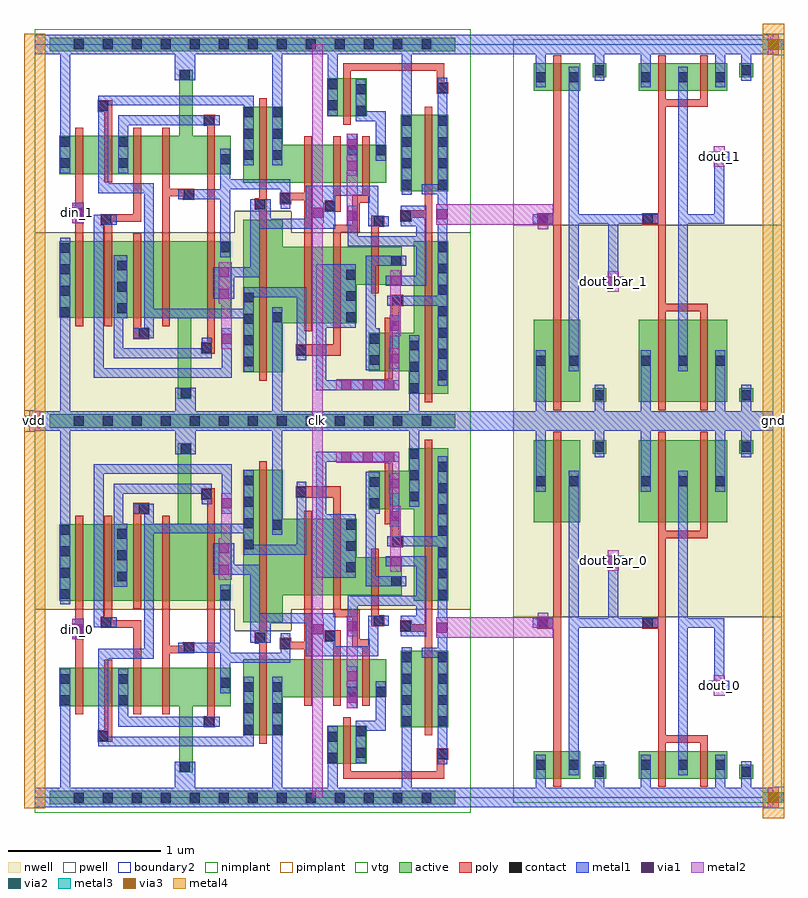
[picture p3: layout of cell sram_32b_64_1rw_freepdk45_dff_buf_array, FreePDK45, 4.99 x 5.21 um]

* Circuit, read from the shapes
.subckt sram_32b_64_1rw_freepdk45_dff_buf_array clk din_0 din_1 dout_0 dout_1 dout_bar_0 dout_bar_1 gnd vdd
M1 n1 din_0 gnd gnd nfet w=0.25u l=0.05u
M2 n2 din_1 gnd gnd nfet w=0.25u l=0.05u
M3 n3 n4 n1 gnd nfet w=0.25u l=0.05u
M4 n5 n6 n2 gnd nfet w=0.25u l=0.05u
M5 n7 clk n3 gnd nfet w=0.25u l=0.05u
M6 n8 clk n5 gnd nfet w=0.25u l=0.05u
M7 gnd n9 n7 gnd nfet w=0.25u l=0.05u
M8 gnd n10 n8 gnd nfet w=0.25u l=0.05u
M9 n9 n3 gnd gnd nfet w=0.25u l=0.05u
M10 n10 n5 gnd gnd nfet w=0.25u l=0.05u
M11 gnd clk n4 gnd nfet w=0.5u l=0.05u
M12 gnd clk n6 gnd nfet w=0.5u l=0.05u
M13 n11 n9 gnd gnd nfet w=0.25u l=0.05u
M14 n12 n10 gnd gnd nfet w=0.25u l=0.05u
M15 n13 clk n11 gnd nfet w=0.25u l=0.05u
M16 n14 clk n12 gnd nfet w=0.25u l=0.05u
M17 n15 sram_32b_64_1rw_freepdk45_dff_buf_0_0/sram_32b_64_1rw_freepdk45_pinv_2_1/A gnd gnd nfet w=0.25u l=0.05u
M18 n16 sram_32b_64_1rw_freepdk45_dff_buf_0_1/sram_32b_64_1rw_freepdk45_pinv_2_1/A gnd gnd nfet w=0.25u l=0.05u
M19 n15 n4 n13 gnd nfet w=0.25u l=0.05u
M20 n16 n6 n14 gnd nfet w=0.25u l=0.05u
M21 sram_32b_64_1rw_freepdk45_dff_buf_0_0/sram_32b_64_1rw_freepdk45_pinv_2_1/A n13 gnd gnd nfet w=0.5u l=0.05u
M22 sram_32b_64_1rw_freepdk45_dff_buf_0_1/sram_32b_64_1rw_freepdk45_pinv_2_1/A n14 gnd gnd nfet w=0.5u l=0.05u
M23 dout_bar_0 sram_32b_64_1rw_freepdk45_dff_buf_0_0/sram_32b_64_1rw_freepdk45_pinv_2_1/A gnd gnd nfet w=0.18u l=0.05u
M24 dout_bar_1 sram_32b_64_1rw_freepdk45_dff_buf_0_1/sram_32b_64_1rw_freepdk45_pinv_2_1/A gnd gnd nfet w=0.18u l=0.05u
M25 dout_0 dout_bar_0 gnd gnd nfet w=0.18u l=0.05u m=2
M26 dout_1 dout_bar_1 gnd gnd nfet w=0.18u l=0.05u m=2
M27 n17 din_0 vdd vdd pfet w=0.5u l=0.05u
M28 n18 din_1 vdd vdd pfet w=0.5u l=0.05u
M29 n3 clk n17 vdd pfet w=0.5u l=0.05u
M30 n5 clk n18 vdd pfet w=0.5u l=0.05u
M31 n19 n4 n3 vdd pfet w=0.5u l=0.05u
M32 n20 n6 n5 vdd pfet w=0.5u l=0.05u
M33 vdd n9 n19 vdd pfet w=0.5u l=0.05u
M34 vdd n10 n20 vdd pfet w=0.5u l=0.05u
M35 n9 n3 vdd vdd pfet w=0.5u l=0.05u
M36 n10 n5 vdd vdd pfet w=0.5u l=0.05u
M37 vdd clk n4 vdd pfet w=1u l=0.05u
M38 vdd clk n6 vdd pfet w=1u l=0.05u
M39 n21 n9 vdd vdd pfet w=0.5u l=0.05u
M40 n22 n10 vdd vdd pfet w=0.5u l=0.05u
M41 n13 n4 n21 vdd pfet w=0.5u l=0.05u
M42 n14 n6 n22 vdd pfet w=0.5u l=0.05u
M43 n23 clk n13 vdd pfet w=0.25u l=0.05u
M44 n24 clk n14 vdd pfet w=0.25u l=0.05u
M45 vdd sram_32b_64_1rw_freepdk45_dff_buf_0_0/sram_32b_64_1rw_freepdk45_pinv_2_1/A n23 vdd pfet w=0.25u l=0.05u
M46 vdd sram_32b_64_1rw_freepdk45_dff_buf_0_1/sram_32b_64_1rw_freepdk45_pinv_2_1/A n24 vdd pfet w=0.25u l=0.05u
M47 sram_32b_64_1rw_freepdk45_dff_buf_0_0/sram_32b_64_1rw_freepdk45_pinv_2_1/A n13 vdd vdd pfet w=1u l=0.05u
M48 sram_32b_64_1rw_freepdk45_dff_buf_0_1/sram_32b_64_1rw_freepdk45_pinv_2_1/A n14 vdd vdd pfet w=1u l=0.05u
M49 dout_bar_0 sram_32b_64_1rw_freepdk45_dff_buf_0_0/sram_32b_64_1rw_freepdk45_pinv_2_1/A vdd vdd pfet w=0.54u l=0.05u
M50 dout_bar_1 sram_32b_64_1rw_freepdk45_dff_buf_0_1/sram_32b_64_1rw_freepdk45_pinv_2_1/A vdd vdd pfet w=0.54u l=0.05u
M51 dout_0 dout_bar_0 vdd vdd pfet w=0.54u l=0.05u m=2
M52 dout_1 dout_bar_1 vdd vdd pfet w=0.54u l=0.05u m=2
.ends

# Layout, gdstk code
import gdstk
lib = gdstk.Library(unit=1e-6, precision=5e-10)
def R(c, l, rs):  # rectangles x0, y0, x1, y1
    for r in rs: c.add(gdstk.rectangle(r[:2], r[2:], *l))
def A(c, l, x, y, w, h, nx, ny, dx, dy):  # array of equal rectangles
    R(c, l, [(x+i*dx, y+j*dy, x+i*dx+w, y+j*dy+h) for i in range(nx) for j in range(ny)])
def P(c, l, *ps):  # polygons
    for p in ps: c.add(gdstk.Polygon(p, *l))
active = (1, 0)
pwell = (2, 0)
nwell = (3, 0)
nimplant = (4, 0)
pimplant = (5, 0)
vtg = (6, 0)
poly = (9, 0)
contact = (10, 0)
metal1 = (11, 0)
via1 = (12, 0)
metal2 = (13, 0)
via2 = (14, 0)
metal3 = (15, 0)
via3 = (16, 0)
metal4 = (17, 0)
boundary2 = (239, 0)

dff = lib.new_cell('dff')
A(dff, active, 0.2675, 0.6, 0.05, 0.25, 4, 1, 0.19, 0)
A(dff, active, 0.3175, 0.6, 0.14, 0.25, 3, 1, 0.19, 0)
A(dff, active, 1.7675, 0.6575, 0.05, 0.25, 3, 1, 0.19, 0)
A(dff, active, 0.2675, 1.2925, 0.05, 0.5, 4, 1, 0.19, 0)
A(dff, active, 0.3175, 1.2925, 0.14, 0.5, 3, 1, 0.19, 0)
R(dff, active, [(0.1,-0.045,2.76,0.045), (1.9175,0.2225,2.0225,0.4725), (2.0225,0.2225,2.0725,0.4725), (2.0725,0.2225,2.1775,0.4725), (1.3675,0.4075,1.4725,0.9075), (1.4725,0.4075,1.5225,0.9075), (2.4025,0.4625,2.5575,0.9625), (2.5575,0.4625,2.6075,0.9625), (2.6075,0.4625,2.7125,0.9625), (0.1625,0.6,0.2675,0.85), (1.1325,0.6,1.1825,0.85), (1.1825,0.6,1.2875,0.85), (1.8175,0.6575,1.9575,0.9075), (2.0075,0.6575,2.1475,0.9075), (2.1975,0.6575,2.3075,0.9075), (1.3675,1.15,1.4725,2.15), (1.4725,1.15,1.5225,2.15), (0.1625,1.2925,0.2675,1.7925), (1.1325,1.2925,1.1825,1.7925), (1.1825,1.2925,1.2875,1.7925), (2.5575,1.2925,2.6075,2.2925), (2.6075,1.2925,2.7125,2.2925), (1.7675,1.3275,1.8175,1.8275), (1.8175,1.3275,1.9575,1.8275), (1.9575,1.3275,2.0075,1.8275), (2.2075,1.3275,2.2575,1.5775), (2.2575,1.3275,2.4075,1.5775), (2.1925,1.8925,2.2975,2.1425), (2.2975,1.8925,2.3475,2.1425), (0.1,2.425,2.76,2.515)])
P(dff, active, [(0.8875,1.2925),(0.8875,1.7925),(0.9375,1.7925),(0.9375,2.3225),(1.0275,2.3225),(1.0275,1.7925),(1.1325,1.7925),(1.1325,1.2925)],
  [(1.5225,1.15),(1.5225,2.15),(1.6275,2.15),(1.6275,1.8275),(1.7675,1.8275),(1.7675,1.3275),(1.6275,1.3275),(1.6275,1.15)],
  [(2.0075,1.3275),(2.0075,1.8275),(2.1125,1.8275),(2.1125,1.5775),(2.2075,1.5775),(2.2075,1.3275)],
  [(2.4875,1.2925),(2.4875,1.8925),(2.3475,1.8925),(2.3475,2.1425),(2.4525,2.1425),(2.4525,2.2925),(2.5575,2.2925),(2.5575,1.2925)],
  [(0.9475,0.165),(0.9475,0.6),(0.8875,0.6),(0.8875,0.85),(1.1325,0.85),(1.1325,0.6),(1.0375,0.6),(1.0375,0.165)],
  [(1.5225,0.4075),(1.5225,0.9075),(1.7675,0.9075),(1.7675,0.6575),(1.6275,0.6575),(1.6275,0.4075)])
P(dff, pwell, [(0,-0.1),(0,1.235),(1.3125,1.235),(1.3125,1.095),(1.6825,1.095),(1.6825,1.235),(2.86,1.235),(2.86,-0.1)])
P(dff, nwell, [(1.3125,1.095),(1.3125,1.235),(0,1.235),(0,2.57),(2.86,2.57),(2.86,1.235),(1.6825,1.235),(1.6825,1.095)])
A(dff, nimplant, 0.2675, 0.6, 0.05, 0.25, 4, 1, 0.19, 0)
A(dff, nimplant, 0.3175, 0.6, 0.14, 0.25, 3, 1, 0.19, 0)
A(dff, nimplant, 1.7675, 0.6575, 0.05, 0.25, 3, 1, 0.19, 0)
R(dff, nimplant, [(1.9175,0.2225,2.0225,0.4725), (2.0225,0.2225,2.0725,0.4725), (2.0725,0.2225,2.1775,0.4725), (1.3675,0.4075,1.4725,0.9075), (1.4725,0.4075,1.5225,0.9075), (2.4025,0.4625,2.5575,0.9625), (2.5575,0.4625,2.6075,0.9625), (2.6075,0.4625,2.7125,0.9625), (0.1625,0.6,0.2675,0.85), (1.1325,0.6,1.1825,0.85), (1.1825,0.6,1.2875,0.85), (1.8175,0.6575,1.9575,0.9075), (2.0075,0.6575,2.1475,0.9075), (2.1975,0.6575,2.3075,0.9075), (0.1,2.425,2.76,2.515)])
P(dff, nimplant, [(0.9475,0.165),(0.9475,0.6),(0.8875,0.6),(0.8875,0.85),(1.1325,0.85),(1.1325,0.6),(1.0375,0.6),(1.0375,0.165)],
  [(1.5225,0.4075),(1.5225,0.9075),(1.7675,0.9075),(1.7675,0.6575),(1.6275,0.6575),(1.6275,0.4075)])
A(dff, pimplant, 0.2675, 1.2925, 0.05, 0.5, 4, 1, 0.19, 0)
A(dff, pimplant, 0.3175, 1.2925, 0.14, 0.5, 3, 1, 0.19, 0)
R(dff, pimplant, [(0.1,-0.045,2.76,0.045), (1.3675,1.15,1.4725,2.15), (1.4725,1.15,1.5225,2.15), (0.1625,1.2925,0.2675,1.7925), (1.1325,1.2925,1.1825,1.7925), (1.1825,1.2925,1.2875,1.7925), (2.5575,1.2925,2.6075,2.2925), (2.6075,1.2925,2.7125,2.2925), (1.7675,1.3275,1.8175,1.8275), (1.8175,1.3275,1.9575,1.8275), (1.9575,1.3275,2.0075,1.8275), (2.2075,1.3275,2.2575,1.5775), (2.2575,1.3275,2.4075,1.5775), (2.1925,1.8925,2.2975,2.1425), (2.2975,1.8925,2.3475,2.1425)])
P(dff, pimplant, [(0.8875,1.2925),(0.8875,1.7925),(0.9375,1.7925),(0.9375,2.3225),(1.0275,2.3225),(1.0275,1.7925),(1.1325,1.7925),(1.1325,1.2925)],
  [(1.5225,1.15),(1.5225,2.15),(1.6275,2.15),(1.6275,1.8275),(1.7675,1.8275),(1.7675,1.3275),(1.6275,1.3275),(1.6275,1.15)],
  [(2.0075,1.3275),(2.0075,1.8275),(2.1125,1.8275),(2.1125,1.5775),(2.2075,1.5775),(2.2075,1.3275)],
  [(2.4875,1.2925),(2.4875,1.8925),(2.3475,1.8925),(2.3475,2.1425),(2.4525,2.1425),(2.4525,2.2925),(2.5575,2.2925),(2.5575,1.2925)])
R(dff, vtg, [(0,-0.1,2.86,2.57)])
A(dff, poly, 0.2675, 0.6, 0.05, 0.25, 4, 1, 0.19, 0)
A(dff, poly, 1.7675, 0.6025, 0.05, 0.055, 3, 1, 0.19, 0)
A(dff, poly, 1.7675, 0.6575, 0.05, 0.25, 3, 1, 0.19, 0)
A(dff, poly, 0.2675, 1.2925, 0.05, 0.5, 4, 1, 0.19, 0)
R(dff, poly, [(2.0225,0.2225,2.0725,0.4725), (1.4725,0.3525,1.5225,0.4075), (1.4725,0.4075,1.5225,0.9075), (2.5575,0.4075,2.6075,0.4625), (2.5575,0.4625,2.6075,0.9625), (2.0225,0.4725,2.0725,0.5275), (0.2675,0.545,0.3175,0.6), (0.6475,0.545,0.6975,0.6), (0.8375,0.545,0.8875,0.6), (1.1325,0.6,1.1825,0.85), (0.4575,0.85,0.5075,0.905), (1.1325,0.85,1.1825,1.2925), (1.4725,1.15,1.5225,2.15), (0.6475,1.2375,0.6975,1.2925), (1.1325,1.2925,1.1825,1.7925), (2.5575,1.2925,2.6075,2.2925), (1.7675,1.3275,1.8175,1.8275), (1.9575,1.3275,2.0075,1.8275), (2.2075,1.3275,2.2575,1.5775), (2.2075,1.5775,2.2575,1.6325), (0.2675,1.7925,0.3175,1.8475), (0.4575,1.7925,0.5075,1.8475), (0.8375,1.7925,0.8875,1.8475), (1.7675,1.8275,1.8175,1.8825), (2.2975,1.8925,2.3475,2.1425), (2.2975,2.1425,2.3475,2.1975), (1.4725,2.15,1.5225,2.205), (2.5575,2.2925,2.6075,2.3475)])
P(dff, poly, [(0.2675,0.85),(0.2675,1.0675),(0.2425,1.0675),(0.2425,1.1425),(0.2675,1.1425),(0.2675,1.2925),(0.3175,1.2925),(0.3175,0.85)],
  [(0.4125,0.365),(0.4125,0.44),(0.4575,0.44),(0.4575,0.6),(0.5075,0.6),(0.5075,0.365)],
  [(0.6475,1.7925),(0.6475,1.9325),(0.7525,1.9325),(0.7525,1.8575),(0.6975,1.8575),(0.6975,1.7925)],
  [(0.6475,0.85),(0.6475,1.1125),(0.4325,1.1125),(0.4325,1.1875),(0.4575,1.1875),(0.4575,1.2925),(0.5075,1.2925),(0.5075,1.1625),(0.6975,1.1625),(0.6975,0.85)],
  [(0.8375,0.85),(0.8375,1.2925),(0.8875,1.2925),(0.8875,0.995),(0.9725,0.995),(0.9725,1.02),(1.0475,1.02),(1.0475,0.945),(0.8875,0.945),(0.8875,0.85)],
  [(1.1325,1.7925),(1.1325,1.9525),(1.0925,1.9525),(1.0925,2.0275),(1.1825,2.0275),(1.1825,1.7925)],
  [(1.1075,0.46),(1.1075,0.535),(1.1325,0.535),(1.1325,0.6),(1.1825,0.6),(1.1825,0.46)],
  [(1.4725,0.9075),(1.4725,1.01),(1.4425,1.01),(1.4425,1.085),(1.4725,1.085),(1.4725,1.15),(1.5225,1.15),(1.5225,0.9075)],
  [(1.7675,0.9075),(1.7675,0.9725),(1.6075,0.9725),(1.6075,1.0475),(1.6825,1.0475),(1.6825,1.0225),(1.7675,1.0225),(1.7675,1.3275),(1.8175,1.3275),(1.8175,0.9075)],
  [(1.9575,1.8275),(1.9575,1.9675),(1.7125,1.9675),(1.7125,2.0425),(2.0075,2.0425),(2.0075,1.8275)],
  [(1.9575,0.9075),(1.9575,1.0225),(1.9025,1.0225),(1.9025,1.0975),(2.0075,1.0975),(2.0075,0.9075)],
  [(2.3425,1.6425),(2.3425,1.7925),(2.2975,1.7925),(2.2975,1.8925),(2.3475,1.8925),(2.3475,1.8425),(2.3925,1.8425),(2.3925,1.7175),(2.4175,1.7175),(2.4175,1.6425)],
  [(2.2075,1.1225),(2.2075,1.3275),(2.2575,1.3275),(2.2575,1.1975),(2.2925,1.1975),(2.2925,1.1225)],
  [(2.0225,0.1225),(2.0225,0.2225),(2.0725,0.2225),(2.0725,0.1725),(2.6375,0.1725),(2.6375,0.3225),(2.7125,0.3225),(2.7125,0.2475),(2.6875,0.2475),(2.6875,0.1225)],
  [(2.1475,0.9075),(2.1475,0.9875),(2.0825,0.9875),(2.0825,1.1825),(1.9575,1.1825),(1.9575,1.3275),(2.0075,1.3275),(2.0075,1.2325),(2.1325,1.2325),(2.1325,1.0375),(2.1975,1.0375),(2.1975,0.9075)],
  [(2.5575,0.9625),(2.5575,1.0875),(2.3975,1.0875),(2.3975,1.1625),(2.4725,1.1625),(2.4725,1.1375),(2.5575,1.1375),(2.5575,1.2925),(2.6075,1.2925),(2.6075,0.9625)])
A(dff, contact, 0.2575, -0.0325, 0.065, 0.065, 13, 2, 0.19, 2.47)
A(dff, contact, 1.3725, 0.4125, 0.065, 0.065, 1, 3, 0, 0.14)
A(dff, contact, 1.5575, 0.4125, 0.065, 0.065, 1, 3, 0, 0.14)
A(dff, contact, 2.4075, 0.4675, 0.065, 0.065, 1, 4, 0, 0.14)
A(dff, contact, 2.6425, 0.4675, 0.065, 0.065, 1, 4, 0, 0.14)
A(dff, contact, 2.6425, 1.2975, 0.065, 0.065, 1, 7, 0, 0.14)
A(dff, contact, 0.1675, 1.3025, 0.065, 0.065, 1, 4, 0, 0.14)
A(dff, contact, 0.5425, 1.4175, 0.065, 0.065, 1, 3, 0, 0.14)
A(dff, contact, 2.0425, 1.4775, 0.065, 0.065, 1, 3, 0, 0.14)
A(dff, contact, 1.3725, 1.6275, 0.065, 0.065, 1, 4, 0, 0.14)
A(dff, contact, 2.4575, 1.9425, 0.065, 0.065, 1, 3, 0, 0.14)
R(dff, contact, [(0.9525,0.17,1.0175,0.235), (1.9225,0.2275,1.9875,0.2925), (2.6425,0.2525,2.7075,0.3175), (2.1075,0.2625,2.1725,0.3275), (1.9225,0.3675,1.9875,0.4325), (0.4175,0.37,0.4825,0.435), (2.1075,0.4025,2.1725,0.4675), (1.1125,0.465,1.1775,0.53), (0.1675,0.605,0.2325,0.67), (0.5475,0.605,0.6125,0.67), (2.0475,0.6625,2.1125,0.7275), (2.2375,0.6625,2.3025,0.7275), (1.2175,0.72,1.2825,0.785), (0.1675,0.745,0.2325,0.81), (0.5475,0.745,0.6125,0.81), (0.9775,0.95,1.0425,1.015), (1.6125,0.9775,1.6775,1.0425), (1.4475,1.015,1.5125,1.08), (1.9075,1.0275,1.9725,1.0925), (0.2475,1.0725,0.3125,1.1375), (2.4025,1.0925,2.4675,1.1575), (0.4375,1.1175,0.5025,1.1825), (2.2225,1.1275,2.2875,1.1925), (1.2175,1.2975,1.2825,1.3625), (2.3375,1.3875,2.4025,1.4525), (2.3475,1.6475,2.4125,1.7125), (1.5575,1.7575,1.6225,1.8225), (0.6825,1.8625,0.7475,1.9275), (2.1975,1.8975,2.2625,1.9625), (1.0975,1.9575,1.1625,2.0225), (1.7175,1.9725,1.7825,2.0375), (2.1975,2.0375,2.2625,2.1025), (0.9575,2.2525,1.0225,2.3175)])
R(dff, metal1, [(0,-0.065,2.86,0.065), (0,-0.065,2.86,0.065), (2.0475,0.5875,2.1125,0.8625), (2.6425,0.915,2.7075,1.1275), (1.7775,0.9275,1.9725,1.2075), (0.245,1.0375,0.3225,1.1725), (2.6325,1.0475,2.71,1.1825), (2.3275,1.7775,2.3925,2.1275), (0,2.405,2.76,2.535), (0,2.405,2.76,2.535)])
P(dff, metal1, [(0.1675,1.2675),(0.1675,2.405),(0.1,2.405),(0.1,2.535),(2.86,2.535),(2.86,2.405),(2.5225,2.405),(2.5225,1.9075),(2.4575,1.9075),(2.4575,2.405),(1.6225,2.405),(1.6225,1.7225),(1.5575,1.7225),(1.5575,2.405),(1.0575,2.405),(1.0575,2.2525),(0.9225,2.2525),(0.9225,2.405),(0.2325,2.405),(0.2325,1.2675)],
  [(0.1,-0.065),(0.1,0.065),(0.1675,0.065),(0.1675,0.845),(0.2325,0.845),(0.2325,0.065),(0.9175,0.065),(0.9175,0.235),(1.0525,0.235),(1.0525,0.065),(1.5575,0.065),(1.5575,0.7925),(1.6225,0.7925),(1.6225,0.065),(1.9225,0.065),(1.9225,0.4675),(1.9875,0.4675),(1.9875,0.065),(2.4075,0.065),(2.4075,0.9875),(2.4725,0.9875),(2.4725,0.065),(2.76,0.065),(2.76,-0.065)],
  [(0.4175,0.335),(0.4175,0.975),(0.7175,0.975),(0.7175,1.8625),(0.6475,1.8625),(0.6475,1.9275),(0.7825,1.9275),(0.7825,1.7975),(1.3725,1.7975),(1.3725,2.1475),(1.4375,2.1475),(1.4375,1.6575),(1.7175,1.6575),(1.7175,2.0725),(1.7825,2.0725),(1.7825,1.5925),(1.3725,1.5925),(1.3725,1.7325),(0.7825,1.7325),(0.7825,0.91),(0.4825,0.91),(0.4825,0.4),(1.3725,0.4),(1.3725,0.7925),(1.4375,0.7925),(1.4375,0.335)],
  [(1.7775,0.9275),(1.7775,1.1425),(1.5475,1.1425),(1.5475,1.015),(1.4125,1.015),(1.4125,1.4625),(1.1725,1.4625),(1.1725,1.6675),(1.3075,1.6675),(1.3075,1.5275),(1.4775,1.5275),(1.4775,1.2075),(1.9725,1.2075),(1.9725,0.9925),(2.1875,0.9925),(2.1875,1.1925),(2.3225,1.1925),(2.3225,1.1275),(2.2525,1.1275),(2.2525,0.9275)],
  [(0.3875,1.1175),(0.3875,2.1875),(1.2925,2.1875),(1.2925,1.8625),(1.2275,1.8625),(1.2275,2.1225),(0.4525,2.1225),(0.4525,1.1825),(0.5375,1.1825),(0.5375,1.1175)],
  [(0.5175,1.3825),(0.5175,2.0575),(1.1625,2.0575),(1.1625,1.9225),(1.0975,1.9225),(1.0975,1.9925),(0.5825,1.9925),(0.5825,1.7975),(0.6075,1.7975),(0.6075,1.3825)],
  [(0.5475,0.465),(0.5475,0.845),(0.6125,0.845),(0.6125,0.53),(1.2125,0.53),(1.2125,0.465)],
  [(1.2175,0.685),(1.2175,0.95),(0.9425,0.95),(0.9425,1.015),(1.2175,1.015),(1.2175,1.3975),(1.2825,1.3975),(1.2825,0.95),(1.6125,0.95),(1.6125,1.0775),(1.6775,1.0775),(1.6775,0.885),(1.2825,0.885),(1.2825,0.685)],
  [(1.8475,1.4425),(1.8475,2.2675),(2.3925,2.2675),(2.3925,2.2025),(1.9125,2.2025),(1.9125,1.8575),(2.1075,1.8575),(2.1075,1.4425)],
  [(2.0525,1.0575),(2.0525,1.3225),(2.5025,1.3225),(2.5025,1.5175),(2.3025,1.5175),(2.3025,1.5825),(2.5675,1.5825),(2.5675,1.0575),(2.4025,1.0575),(2.4025,1.1925),(2.5025,1.1925),(2.5025,1.2575),(2.1175,1.2575),(2.1175,1.0575)],
  [(2.1725,1.3875),(2.1725,2.1375),(2.2625,2.1375),(2.2625,1.8625),(2.2375,1.8625),(2.2375,1.4525),(2.4375,1.4525),(2.4375,1.3875)],
  [(2.6425,0.2175),(2.6425,0.9175),(2.5375,0.9175),(2.5375,0.9825),(2.6425,0.9825),(2.6425,1.6475),(2.3125,1.6475),(2.3125,1.7125),(2.6425,1.7125),(2.6425,2.2375),(2.7075,2.2375),(2.7075,0.2175)],
  [(2.1075,0.2275),(2.1075,0.5025),(2.2375,0.5025),(2.2375,0.7625),(2.3025,0.7625),(2.3025,0.4375),(2.1725,0.4375),(2.1725,0.2275)])
A(dff, via1, 2.0125, 2.2025, 0.065, 0.065, 3, 1, 0.14, 0)
R(dff, via1, [(2.0475,0.6225,2.1125,0.6875), (2.0475,0.7625,2.1125,0.8275), (0.2475,1.0725,0.3125,1.1375), (1.825,1.0725,1.89,1.1375), (2.64,1.0825,2.705,1.1475), (2.0525,1.0925,2.1175,1.1575), (1.2075,1.4625,1.2725,1.5275), (2.3375,1.5175,2.4025,1.5825), (1.2075,1.6025,1.2725,1.6675), (2.3275,1.8125,2.3925,1.8775), (1.2275,1.8975,1.2925,1.9625), (2.3275,2.0275,2.3925,2.0925)])
R(dff, metal2, [(2.0475,0.5875,2.1175,1.1925), (0.245,1.0375,0.3225,1.1725), (0.245,1.0375,0.3225,1.1725), (1.82,1.0375,1.8975,1.1725), (1.82,1.0375,1.8975,1.1725), (2.6325,1.0475,2.71,1.1825), (2.6325,1.0475,2.71,1.1825)])
P(dff, metal2, [(1.2075,1.4275),(1.2075,1.7025),(1.2225,1.7025),(1.2225,1.9975),(1.2925,1.9975),(1.2925,1.4275)],
  [(2.3225,1.9925),(2.3225,2.1975),(1.9775,2.1975),(1.9775,2.2675),(2.3925,2.2675),(2.3925,1.9925)],
  [(2.3325,1.4825),(2.3325,1.7775),(2.3275,1.7775),(2.3275,1.9125),(2.4025,1.9125),(2.4025,1.4825)])
R(dff, boundary2, [(0,0,2.86,2.47)])
dff.add(gdstk.Label('clk', (1.865,1.15), layer=13, texttype=0))
dff.add(gdstk.Label('D', (0.295,1.15), layer=13, texttype=0))
dff.add(gdstk.Label('Q', (2.685,1.1), layer=13, texttype=0))
dff.add(gdstk.Label('gnd', (1.645,0.0425), layer=11, texttype=0))
dff.add(gdstk.Label('vdd', (2.035,2.5325), layer=11, texttype=0))
dff.add(gdstk.Label('D', (0.284,1.105), layer=13, texttype=0))
dff.add(gdstk.Label('Q', (2.671,1.115), layer=13, texttype=0))
dff.add(gdstk.Label('clk', (1.859,1.105), layer=13, texttype=0))
dff.add(gdstk.Label('vdd', (1.38,2.47), layer=11, texttype=0))
dff.add(gdstk.Label('gnd', (1.43,0), layer=11, texttype=0))

sram_32b_64_1rw_freepdk4 = lib.new_cell('sram_32b_64_1rw_freepdk45_contact_11')
R(sram_32b_64_1rw_freepdk4, active, [(0,0.0225,0.09,0.1125)])
R(sram_32b_64_1rw_freepdk4, nwell, [(-0.055,-0.0325,0.145,0.1675)])
R(sram_32b_64_1rw_freepdk4, pimplant, [(0,0.0225,0.09,0.1125)])
R(sram_32b_64_1rw_freepdk4, contact, [(0.0125,0.035,0.0775,0.1)])
R(sram_32b_64_1rw_freepdk4, metal1, [(0.0125,0,0.0775,0.135)])
R(sram_32b_64_1rw_freepdk4, boundary2, [(-0.055,-0.0325,0.145,0.1675)])

c_sram_32b_64_1rw_freepdk4 = lib.new_cell('sram_32b_64_1rw_freepdk45_pmos_m1_w0_540_sm1_dm1_da_p')
R(c_sram_32b_64_1rw_freepdk4, active, [(0,0,0.305,0.54)])
R(c_sram_32b_64_1rw_freepdk4, nwell, [(-0.08,-0.08,0.385,0.62)])
R(c_sram_32b_64_1rw_freepdk4, pimplant, [(0,0,0.305,0.54)])
R(c_sram_32b_64_1rw_freepdk4, vtg, [(-0.08,-0.08,0.385,0.62)])
R(c_sram_32b_64_1rw_freepdk4, poly, [(0.1275,-0.055,0.1775,0.595), (0.1275,-0.055,0.1775,0.595)])
R(c_sram_32b_64_1rw_freepdk4, metal1, [(0.0125,0.2025,0.0775,0.3375), (0.2275,0.2025,0.2925,0.3375)])
R(c_sram_32b_64_1rw_freepdk4, boundary2, [(-0.08,-0.08,0.385,0.62)])
c_sram_32b_64_1rw_freepdk4.add(gdstk.Reference(sram_32b_64_1rw_freepdk4, (0,0.2025)))
c_sram_32b_64_1rw_freepdk4.add(gdstk.Reference(sram_32b_64_1rw_freepdk4, (0.215,0.2025)))
c_sram_32b_64_1rw_freepdk4.add(gdstk.Label('G', (0.1525,0.27), layer=9, texttype=0))
c_sram_32b_64_1rw_freepdk4.add(gdstk.Label('S', (0.045,0.27), layer=11, texttype=0))
c_sram_32b_64_1rw_freepdk4.add(gdstk.Label('D', (0.26,0.27), layer=11, texttype=0))

c_sram_32b_64_1rw_freepdk4_ = lib.new_cell('sram_32b_64_1rw_freepdk45_contact_10')
R(c_sram_32b_64_1rw_freepdk4_, active, [(0,0.0225,0.09,0.1125)])
R(c_sram_32b_64_1rw_freepdk4_, pwell, [(-0.055,-0.0325,0.145,0.1675)])
R(c_sram_32b_64_1rw_freepdk4_, nimplant, [(0,0.0225,0.09,0.1125)])
R(c_sram_32b_64_1rw_freepdk4_, contact, [(0.0125,0.035,0.0775,0.1)])
R(c_sram_32b_64_1rw_freepdk4_, metal1, [(0.0125,0,0.0775,0.135)])
R(c_sram_32b_64_1rw_freepdk4_, boundary2, [(-0.055,-0.0325,0.145,0.1675)])

c_sram_32b_64_1rw_freepdk4__ = lib.new_cell('sram_32b_64_1rw_freepdk45_nmos_m1_w0_180_sm1_dm1_da_p')
R(c_sram_32b_64_1rw_freepdk4__, active, [(0,0,0.305,0.18)])
R(c_sram_32b_64_1rw_freepdk4__, pwell, [(-0.08,-0.08,0.385,0.26)])
R(c_sram_32b_64_1rw_freepdk4__, nimplant, [(0,0,0.305,0.18)])
R(c_sram_32b_64_1rw_freepdk4__, vtg, [(-0.08,-0.08,0.385,0.26)])
R(c_sram_32b_64_1rw_freepdk4__, poly, [(0.1275,-0.055,0.1775,0.235), (0.1275,-0.055,0.1775,0.235)])
R(c_sram_32b_64_1rw_freepdk4__, metal1, [(0.0125,0.0225,0.0775,0.1575), (0.2275,0.0225,0.2925,0.1575)])
R(c_sram_32b_64_1rw_freepdk4__, boundary2, [(-0.08,-0.08,0.385,0.26)])
c_sram_32b_64_1rw_freepdk4__.add(gdstk.Reference(c_sram_32b_64_1rw_freepdk4_, (0,0.0225)))
c_sram_32b_64_1rw_freepdk4__.add(gdstk.Reference(c_sram_32b_64_1rw_freepdk4_, (0.215,0.0225)))
c_sram_32b_64_1rw_freepdk4__.add(gdstk.Label('G', (0.1525,0.09), layer=9, texttype=0))
c_sram_32b_64_1rw_freepdk4__.add(gdstk.Label('S', (0.045,0.09), layer=11, texttype=0))
c_sram_32b_64_1rw_freepdk4__.add(gdstk.Label('D', (0.26,0.09), layer=11, texttype=0))

c_sram_32b_64_1rw_freepdk4___ = lib.new_cell('sram_32b_64_1rw_freepdk45_contact_12')
R(c_sram_32b_64_1rw_freepdk4___, active, [(0,0.0225,0.09,0.1125)])
R(c_sram_32b_64_1rw_freepdk4___, nwell, [(-0.055,-0.0325,0.145,0.1675)])
R(c_sram_32b_64_1rw_freepdk4___, nimplant, [(0,0.0225,0.09,0.1125)])
R(c_sram_32b_64_1rw_freepdk4___, contact, [(0.0125,0.035,0.0775,0.1)])
R(c_sram_32b_64_1rw_freepdk4___, metal1, [(0.0125,0,0.0775,0.135)])
R(c_sram_32b_64_1rw_freepdk4___, boundary2, [(-0.055,-0.0325,0.145,0.1675)])

c_sram_32b_64_1rw_freepdk4____ = lib.new_cell('sram_32b_64_1rw_freepdk45_contact_13')
R(c_sram_32b_64_1rw_freepdk4____, active, [(0,0.0225,0.09,0.1125)])
R(c_sram_32b_64_1rw_freepdk4____, pwell, [(-0.055,-0.0325,0.145,0.1675)])
R(c_sram_32b_64_1rw_freepdk4____, pimplant, [(0,0.0225,0.09,0.1125)])
R(c_sram_32b_64_1rw_freepdk4____, contact, [(0.0125,0.035,0.0775,0.1)])
R(c_sram_32b_64_1rw_freepdk4____, metal1, [(0.0125,0,0.0775,0.135)])
R(c_sram_32b_64_1rw_freepdk4____, boundary2, [(-0.055,-0.0325,0.145,0.1675)])

c_sram_32b_64_1rw_freepdk4_____ = lib.new_cell('sram_32b_64_1rw_freepdk45_contact_14')
R(c_sram_32b_64_1rw_freepdk4_____, poly, [(0.03,0,0.105,0.075)])
R(c_sram_32b_64_1rw_freepdk4_____, contact, [(0.035,0.005,0.1,0.07)])
R(c_sram_32b_64_1rw_freepdk4_____, metal1, [(0,0.005,0.135,0.07)])
R(c_sram_32b_64_1rw_freepdk4_____, boundary2, [(0,0,0.135,0.075)])

c_sram_32b_64_1rw_freepdk4______ = lib.new_cell('sram_32b_64_1rw_freepdk45_pinv_2')
R(c_sram_32b_64_1rw_freepdk4______, pwell, [(-0.055,-0.0325,0.7425,1.185)])
R(c_sram_32b_64_1rw_freepdk4______, nwell, [(-0.055,1.185,0.7425,2.505)])
R(c_sram_32b_64_1rw_freepdk4______, vtg, [(-0.055,-0.0325,0.7425,1.185), (-0.055,1.185,0.7425,2.505)])
R(c_sram_32b_64_1rw_freepdk4______, poly, [(0.2075,0.36,0.2575,1.75), (0.14,1.1075,0.2075,1.1825)])
R(c_sram_32b_64_1rw_freepdk4______, metal1, [(0,-0.0325,0.6875,0.0325), (0.0925,-0.0325,0.1575,0.1475), (0.4775,0,0.5425,0.17), (0.3075,0.1475,0.3725,2.1425), (0.0725,1.1125,0.2075,1.1775), (0.34,1.1125,0.405,1.1775), (0.0925,2.0075,0.1575,2.5025), (0.4775,2.3,0.5425,2.47), (0,2.4375,0.6875,2.5025)])
R(c_sram_32b_64_1rw_freepdk4______, boundary2, [(0,0,0.6875,2.47), (0,0,0.6875,2.47)])
c_sram_32b_64_1rw_freepdk4______.add(gdstk.Reference(c_sram_32b_64_1rw_freepdk4, (0.08,1.805)))
c_sram_32b_64_1rw_freepdk4______.add(gdstk.Reference(c_sram_32b_64_1rw_freepdk4__, (0.08,0.125)))
c_sram_32b_64_1rw_freepdk4______.add(gdstk.Reference(c_sram_32b_64_1rw_freepdk4___, (0.465,2.2325)))
c_sram_32b_64_1rw_freepdk4______.add(gdstk.Reference(c_sram_32b_64_1rw_freepdk4____, (0.465,0.1025)))
c_sram_32b_64_1rw_freepdk4______.add(gdstk.Reference(c_sram_32b_64_1rw_freepdk4_____, (0.0725,1.1075)))
c_sram_32b_64_1rw_freepdk4______.add(gdstk.Label('A', (0.14,1.145), layer=11, texttype=0))
c_sram_32b_64_1rw_freepdk4______.add(gdstk.Label('Z', (0.3725,1.145), layer=11, texttype=0))
c_sram_32b_64_1rw_freepdk4______.add(gdstk.Label('gnd', (0.344,0), layer=11, texttype=0))
c_sram_32b_64_1rw_freepdk4______.add(gdstk.Label('vdd', (0.344,2.47), layer=11, texttype=0))

c_sram_32b_64_1rw_freepdk4_______ = lib.new_cell('sram_32b_64_1rw_freepdk45_pmos_m2_w0_540_sm1_dm1_da_p')
R(c_sram_32b_64_1rw_freepdk4_______, active, [(0,0,0.58,0.54)])
R(c_sram_32b_64_1rw_freepdk4_______, nwell, [(-0.08,-0.08,0.66,0.62)])
R(c_sram_32b_64_1rw_freepdk4_______, pimplant, [(0,0,0.58,0.54)])
R(c_sram_32b_64_1rw_freepdk4_______, vtg, [(-0.08,-0.08,0.66,0.62)])
R(c_sram_32b_64_1rw_freepdk4_______, poly, [(0.1275,-0.105,0.4525,-0.055), (0.1275,-0.055,0.1775,0.595), (0.4025,-0.055,0.4525,0.595)])
A(c_sram_32b_64_1rw_freepdk4_______, metal1, 0.0125, 0.2025, 0.065, 0.135, 3, 1, 0.245, 0)
R(c_sram_32b_64_1rw_freepdk4_______, boundary2, [(-0.08,-0.105,0.66,0.62)])
c_sram_32b_64_1rw_freepdk4_______.add(gdstk.Reference(sram_32b_64_1rw_freepdk4, (0,0.2025)))
c_sram_32b_64_1rw_freepdk4_______.add(gdstk.Reference(sram_32b_64_1rw_freepdk4, (0.245,0.2025)))
c_sram_32b_64_1rw_freepdk4_______.add(gdstk.Reference(sram_32b_64_1rw_freepdk4, (0.49,0.2025)))
c_sram_32b_64_1rw_freepdk4_______.add(gdstk.Label('G', (0.29,-0.08), layer=9, texttype=0))
c_sram_32b_64_1rw_freepdk4_______.add(gdstk.Label('S', (0.045,0.27), layer=11, texttype=0))
c_sram_32b_64_1rw_freepdk4_______.add(gdstk.Label('S', (0.535,0.27), layer=11, texttype=0))
c_sram_32b_64_1rw_freepdk4_______.add(gdstk.Label('D', (0.29,0.27), layer=11, texttype=0))

c_sram_32b_64_1rw_freepdk4________ = lib.new_cell('sram_32b_64_1rw_freepdk45_nmos_m2_w0_180_sm1_dm1_da_p')
R(c_sram_32b_64_1rw_freepdk4________, active, [(0,0,0.58,0.18)])
R(c_sram_32b_64_1rw_freepdk4________, pwell, [(-0.08,-0.08,0.66,0.26)])
R(c_sram_32b_64_1rw_freepdk4________, nimplant, [(0,0,0.58,0.18)])
R(c_sram_32b_64_1rw_freepdk4________, vtg, [(-0.08,-0.08,0.66,0.26)])
R(c_sram_32b_64_1rw_freepdk4________, poly, [(0.1275,-0.055,0.1775,0.235), (0.4025,-0.055,0.4525,0.235), (0.1275,0.235,0.4525,0.285)])
A(c_sram_32b_64_1rw_freepdk4________, metal1, 0.0125, 0.0225, 0.065, 0.135, 3, 1, 0.245, 0)
R(c_sram_32b_64_1rw_freepdk4________, boundary2, [(-0.08,-0.08,0.66,0.285)])
c_sram_32b_64_1rw_freepdk4________.add(gdstk.Reference(c_sram_32b_64_1rw_freepdk4_, (0,0.0225)))
c_sram_32b_64_1rw_freepdk4________.add(gdstk.Reference(c_sram_32b_64_1rw_freepdk4_, (0.245,0.0225)))
c_sram_32b_64_1rw_freepdk4________.add(gdstk.Reference(c_sram_32b_64_1rw_freepdk4_, (0.49,0.0225)))
c_sram_32b_64_1rw_freepdk4________.add(gdstk.Label('G', (0.29,0.26), layer=9, texttype=0))
c_sram_32b_64_1rw_freepdk4________.add(gdstk.Label('S', (0.045,0.09), layer=11, texttype=0))
c_sram_32b_64_1rw_freepdk4________.add(gdstk.Label('S', (0.535,0.09), layer=11, texttype=0))
c_sram_32b_64_1rw_freepdk4________.add(gdstk.Label('D', (0.29,0.09), layer=11, texttype=0))

c_sram_32b_64_1rw_freepdk4_________ = lib.new_cell('sram_32b_64_1rw_freepdk45_pinv_3')
R(c_sram_32b_64_1rw_freepdk4_________, pwell, [(-0.055,-0.0325,1.0175,1.185)])
R(c_sram_32b_64_1rw_freepdk4_________, nwell, [(-0.055,1.185,1.0175,2.505)])
R(c_sram_32b_64_1rw_freepdk4_________, vtg, [(-0.055,-0.0325,1.0175,1.185), (-0.055,1.185,1.0175,2.505)])
R(c_sram_32b_64_1rw_freepdk4_________, poly, [(0.2075,0.41,0.2575,1.7), (0.14,1.1075,0.2075,1.1825)])
R(c_sram_32b_64_1rw_freepdk4_________, metal1, [(0,-0.0325,0.9625,0.0325), (0.0925,-0.0325,0.1575,0.1475), (0.5825,-0.0325,0.6475,0.1475), (0.7525,0,0.8175,0.17), (0.3375,0.1475,0.4025,2.1425), (0.0725,1.1125,0.2075,1.1775), (0.37,1.1125,0.435,1.1775), (0.0925,2.0075,0.1575,2.5025), (0.5825,2.0075,0.6475,2.5025), (0.7525,2.3,0.8175,2.47), (0,2.4375,0.9625,2.5025)])
R(c_sram_32b_64_1rw_freepdk4_________, boundary2, [(0,0,0.9625,2.47), (0,0,0.9625,2.47)])
c_sram_32b_64_1rw_freepdk4_________.add(gdstk.Reference(c_sram_32b_64_1rw_freepdk4_______, (0.08,1.805)))
c_sram_32b_64_1rw_freepdk4_________.add(gdstk.Reference(c_sram_32b_64_1rw_freepdk4________, (0.08,0.125)))
c_sram_32b_64_1rw_freepdk4_________.add(gdstk.Reference(c_sram_32b_64_1rw_freepdk4___, (0.74,2.2325)))
c_sram_32b_64_1rw_freepdk4_________.add(gdstk.Reference(c_sram_32b_64_1rw_freepdk4____, (0.74,0.1025)))
c_sram_32b_64_1rw_freepdk4_________.add(gdstk.Reference(c_sram_32b_64_1rw_freepdk4_____, (0.0725,1.1075)))
c_sram_32b_64_1rw_freepdk4_________.add(gdstk.Label('A', (0.14,1.145), layer=11, texttype=0))
c_sram_32b_64_1rw_freepdk4_________.add(gdstk.Label('Z', (0.4025,1.145), layer=11, texttype=0))
c_sram_32b_64_1rw_freepdk4_________.add(gdstk.Label('gnd', (0.481,0), layer=11, texttype=0))
c_sram_32b_64_1rw_freepdk4_________.add(gdstk.Label('vdd', (0.481,2.47), layer=11, texttype=0))

c_sram_32b_64_1rw_freepdk4__________ = lib.new_cell('sram_32b_64_1rw_freepdk45_contact_17')
R(c_sram_32b_64_1rw_freepdk4__________, metal1, [(0,0.035,0.135,0.1)])
R(c_sram_32b_64_1rw_freepdk4__________, via1, [(0.035,0.035,0.1,0.1)])
R(c_sram_32b_64_1rw_freepdk4__________, metal2, [(0.0325,0,0.1025,0.135)])
R(c_sram_32b_64_1rw_freepdk4__________, boundary2, [(0,0,0.135,0.135)])

c_sram_32b_64_1rw_freepdk4___________ = lib.new_cell('sram_32b_64_1rw_freepdk45_dff_buf_0')
R(c_sram_32b_64_1rw_freepdk4___________, metal1, [(0,-0.065,4.845,0.065), (4.4575,0.735,4.5225,1.145), (3.5675,1.1125,3.795,1.1775), (3.795,1.1125,4.0225,1.1775), (4.285,1.1125,4.49,1.1775), (4.4575,1.1125,4.5225,1.1775), (3.7625,1.145,3.8275,1.555), (0,2.405,4.845,2.535)])
R(c_sram_32b_64_1rw_freepdk4___________, metal2, [(4.455,0.7,4.525,0.77), (0.245,1.0375,0.3225,1.1725), (1.82,1.0375,1.8975,1.1725), (2.67,1.0475,3.335,1.1825), (3.2675,1.0475,3.4025,1.1825), (3.2675,1.115,3.4025,1.145), (3.76,1.52,3.83,1.59)])
R(c_sram_32b_64_1rw_freepdk4___________, boundary2, [(0,0,4.845,2.47)])
c_sram_32b_64_1rw_freepdk4___________.add(gdstk.Reference(dff, (0,0)))
c_sram_32b_64_1rw_freepdk4___________.add(gdstk.Reference(c_sram_32b_64_1rw_freepdk4______, (3.195,0)))
c_sram_32b_64_1rw_freepdk4___________.add(gdstk.Reference(c_sram_32b_64_1rw_freepdk4_________, (3.8825,0)))
c_sram_32b_64_1rw_freepdk4___________.add(gdstk.Reference(c_sram_32b_64_1rw_freepdk4__________, (3.2675,1.0775)))
c_sram_32b_64_1rw_freepdk4___________.add(gdstk.Reference(c_sram_32b_64_1rw_freepdk4__________, (4.4225,0.6675)))
c_sram_32b_64_1rw_freepdk4___________.add(gdstk.Reference(c_sram_32b_64_1rw_freepdk4__________, (3.7275,1.4875)))
c_sram_32b_64_1rw_freepdk4___________.add(gdstk.Label('vdd', (2.4225,2.47), layer=11, texttype=0))
c_sram_32b_64_1rw_freepdk4___________.add(gdstk.Label('gnd', (2.4225,0), layer=11, texttype=0))
c_sram_32b_64_1rw_freepdk4___________.add(gdstk.Label('clk', (1.859,1.105), layer=13, texttype=0))
c_sram_32b_64_1rw_freepdk4___________.add(gdstk.Label('D', (0.284,1.105), layer=13, texttype=0))
c_sram_32b_64_1rw_freepdk4___________.add(gdstk.Label('Q', (4.49,0.735), layer=13, texttype=0))
c_sram_32b_64_1rw_freepdk4___________.add(gdstk.Label('Qb', (3.795,1.555), layer=13, texttype=0))

c_sram_32b_64_1rw_freepdk4____________ = lib.new_cell('sram_32b_64_1rw_freepdk45_contact_18')
R(c_sram_32b_64_1rw_freepdk4____________, metal2, [(0.0325,0,0.1025,0.135)])
R(c_sram_32b_64_1rw_freepdk4____________, via2, [(0.035,0.035,0.1,0.1)])
R(c_sram_32b_64_1rw_freepdk4____________, metal3, [(0,0.0325,0.135,0.1025)])
R(c_sram_32b_64_1rw_freepdk4____________, boundary2, [(0,0,0.135,0.135)])

c_sram_32b_64_1rw_freepdk4_____________ = lib.new_cell('sram_32b_64_1rw_freepdk45_contact_21')
R(c_sram_32b_64_1rw_freepdk4_____________, metal3, [(0,0.035,0.14,0.105)])
R(c_sram_32b_64_1rw_freepdk4_____________, via3, [(0.035,0.035,0.105,0.105)])
R(c_sram_32b_64_1rw_freepdk4_____________, metal4, [(0,0,0.14,0.14)])
R(c_sram_32b_64_1rw_freepdk4_____________, boundary2, [(0,0,0.14,0.14)])

c_sram_32b_64_1rw_freepdk4______________ = lib.new_cell('sram_32b_64_1rw_freepdk45_dff_buf_array')
R(c_sram_32b_64_1rw_freepdk4______________, metal1, [(0,-0.065,4.845,0.065), (0,2.405,4.845,2.535), (0,2.405,4.845,2.535), (0,4.875,4.845,5.005)])
R(c_sram_32b_64_1rw_freepdk4______________, metal2, [(1.82,0,1.89,4.94), (4.455,0.7,4.525,0.77), (0.245,1.0375,0.3225,1.1725), (3.76,1.52,3.83,1.59), (3.76,3.35,3.83,3.42), (0.245,3.7675,0.3225,3.9025), (4.455,4.17,4.525,4.24)])
R(c_sram_32b_64_1rw_freepdk4______________, metal4, [(4.775,-0.135,4.915,5.075), (-0.07,-0.07,0.07,5.01)])
R(c_sram_32b_64_1rw_freepdk4______________, boundary2, [(0,0,4.845,4.94)])
c_sram_32b_64_1rw_freepdk4______________.add(gdstk.Reference(c_sram_32b_64_1rw_freepdk4___________, (0,0)))
c_sram_32b_64_1rw_freepdk4______________.add(gdstk.Reference(c_sram_32b_64_1rw_freepdk4___________, (0,4.94), x_reflection=True))
c_sram_32b_64_1rw_freepdk4______________.add(gdstk.Reference(c_sram_32b_64_1rw_freepdk4__________, (-0.0675,2.4025)))
c_sram_32b_64_1rw_freepdk4______________.add(gdstk.Reference(c_sram_32b_64_1rw_freepdk4____________, (-0.0675,2.4025)))
c_sram_32b_64_1rw_freepdk4______________.add(gdstk.Reference(c_sram_32b_64_1rw_freepdk4_____________, (-0.07,2.4)))
c_sram_32b_64_1rw_freepdk4______________.add(gdstk.Reference(c_sram_32b_64_1rw_freepdk4__________, (-0.0675,2.4025)))
c_sram_32b_64_1rw_freepdk4______________.add(gdstk.Reference(c_sram_32b_64_1rw_freepdk4____________, (-0.0675,2.4025)))
c_sram_32b_64_1rw_freepdk4______________.add(gdstk.Reference(c_sram_32b_64_1rw_freepdk4_____________, (-0.07,2.4)))
c_sram_32b_64_1rw_freepdk4______________.add(gdstk.Reference(c_sram_32b_64_1rw_freepdk4__________, (4.7775,-0.0675)))
c_sram_32b_64_1rw_freepdk4______________.add(gdstk.Reference(c_sram_32b_64_1rw_freepdk4____________, (4.7775,-0.0675)))
c_sram_32b_64_1rw_freepdk4______________.add(gdstk.Reference(c_sram_32b_64_1rw_freepdk4_____________, (4.775,-0.07)))
c_sram_32b_64_1rw_freepdk4______________.add(gdstk.Reference(c_sram_32b_64_1rw_freepdk4__________, (4.7775,4.8725)))
c_sram_32b_64_1rw_freepdk4______________.add(gdstk.Reference(c_sram_32b_64_1rw_freepdk4____________, (4.7775,4.8725)))
c_sram_32b_64_1rw_freepdk4______________.add(gdstk.Reference(c_sram_32b_64_1rw_freepdk4_____________, (4.775,4.87)))
c_sram_32b_64_1rw_freepdk4______________.add(gdstk.Label('vdd', (0,2.47), layer=17, texttype=0))
c_sram_32b_64_1rw_freepdk4______________.add(gdstk.Label('gnd', (4.845,2.47), layer=17, texttype=0))
c_sram_32b_64_1rw_freepdk4______________.add(gdstk.Label('din_0', (0.284,1.105), layer=13, texttype=0))
c_sram_32b_64_1rw_freepdk4______________.add(gdstk.Label('dout_0', (4.49,0.735), layer=13, texttype=0))
c_sram_32b_64_1rw_freepdk4______________.add(gdstk.Label('dout_bar_0', (3.795,1.555), layer=13, texttype=0))
c_sram_32b_64_1rw_freepdk4______________.add(gdstk.Label('din_1', (0.284,3.835), layer=13, texttype=0))
c_sram_32b_64_1rw_freepdk4______________.add(gdstk.Label('dout_1', (4.49,4.205), layer=13, texttype=0))
c_sram_32b_64_1rw_freepdk4______________.add(gdstk.Label('dout_bar_1', (3.795,3.385), layer=13, texttype=0))
c_sram_32b_64_1rw_freepdk4______________.add(gdstk.Label('clk', (1.855,2.47), layer=13, texttype=0))

lib.write_gds('sram_32b_64_1rw_freepdk45_dff_buf_array.gds')
